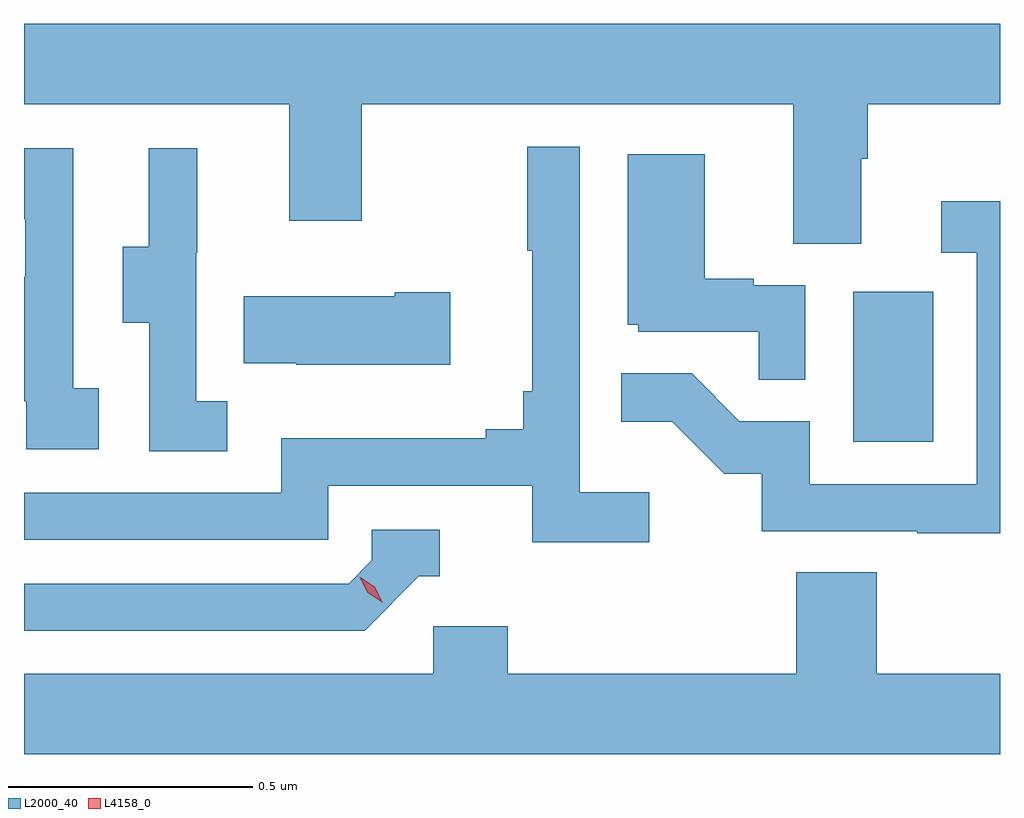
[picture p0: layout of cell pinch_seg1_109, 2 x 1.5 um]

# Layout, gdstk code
import gdstk
lib = gdstk.Library(unit=1e-6, precision=1e-09)
def R(c, l, rs):  # rectangles x0, y0, x1, y1
    for r in rs: c.add(gdstk.rectangle(r[:2], r[2:], *l))
def P(c, l, *ps):  # polygons
    for p in ps: c.add(gdstk.Polygon(p, *l))
L2000_40 = (2000, 40)
L4158_0 = (4158, 0)

pinch_seg1_109 = lib.new_cell('pinch_seg1_109')
R(pinch_seg1_109, L2000_40, [(1024.946,544.38,1025.11,544.687)])
P(pinch_seg1_109, L2000_40, [(1023.247,545.072),(1023.791,545.072),(1023.791,544.833),(1023.939,544.833),(1023.939,545.072),(1024.823,545.072),(1024.823,544.786),(1024.963,544.786),(1024.963,544.96),(1024.976,544.96),(1024.976,545.072),(1025.247,545.072),(1025.247,545.236),(1023.247,545.236)],
  [(1024.528,544.276),(1024.386,544.276),(1024.386,544.984),(1024.278,544.984),(1024.278,544.771),(1024.289,544.771),(1024.289,544.483),(1024.27,544.483),(1024.27,544.406),(1024.193,544.406),(1024.193,544.387),(1023.774,544.387),(1023.774,544.275),(1023.247,544.275),(1023.247,544.179),(1023.87,544.179),(1023.87,544.29),(1024.289,544.29),(1024.289,544.174),(1024.528,544.174)],
  [(1023.664,544.463),(1023.6,544.463),(1023.6,544.767),(1023.602,544.767),(1023.602,544.981),(1023.503,544.981),(1023.503,544.779),(1023.449,544.779),(1023.449,544.624),(1023.504,544.624),(1023.504,544.36),(1023.664,544.36)],
  [(1023.4,544.49),(1023.348,544.49),(1023.348,544.981),(1023.247,544.981),(1023.247,544.836),(1023.25,544.836),(1023.25,544.718),(1023.247,544.718),(1023.247,544.463),(1023.252,544.463),(1023.252,544.365),(1023.4,544.365)],
  [(1024.848,544.701),(1024.742,544.701),(1024.742,544.714),(1024.642,544.714),(1024.642,544.969),(1024.484,544.969),(1024.484,544.62),(1024.506,544.62),(1024.506,544.605),(1024.753,544.605),(1024.753,544.507),(1024.848,544.507)],
  [(1025.247,544.873),(1025.127,544.873),(1025.127,544.767),(1025.199,544.767),(1025.199,544.293),(1024.857,544.293),(1024.857,544.422),(1024.713,544.422),(1024.615,544.52),(1024.471,544.52),(1024.471,544.421),(1024.575,544.421),(1024.682,544.314),(1024.759,544.314),(1024.759,544.197),(1025.077,544.197),(1025.077,544.192),(1025.247,544.192)],
  [(1024.12,544.686),(1024.007,544.686),(1024.007,544.678),(1023.697,544.678),(1023.697,544.541),(1023.805,544.541),(1023.805,544.538),(1024.12,544.538)],
  [(1024.056,544.104),(1024.099,544.104),(1024.099,544.2),(1023.96,544.2),(1023.96,544.137),(1023.912,544.089),(1023.247,544.089),(1023.247,543.993),(1023.945,543.993)],
  [(1025.247,543.904),(1024.994,543.904),(1024.994,544.112),(1024.829,544.112),(1024.829,543.904),(1024.238,543.904),(1024.238,544.002),(1024.086,544.002),(1024.086,543.904),(1023.247,543.904),(1023.247,543.74),(1025.247,543.74)])
P(pinch_seg1_109, L4158_0, [(1023.982,544.05),(1023.951,544.07),(1023.935,544.102),(1023.935,544.103),(1023.935,544.103),(1023.966,544.083),(1023.982,544.05),(1023.982,544.05)])

lib.write_gds('pinch_seg1_109.gds')
